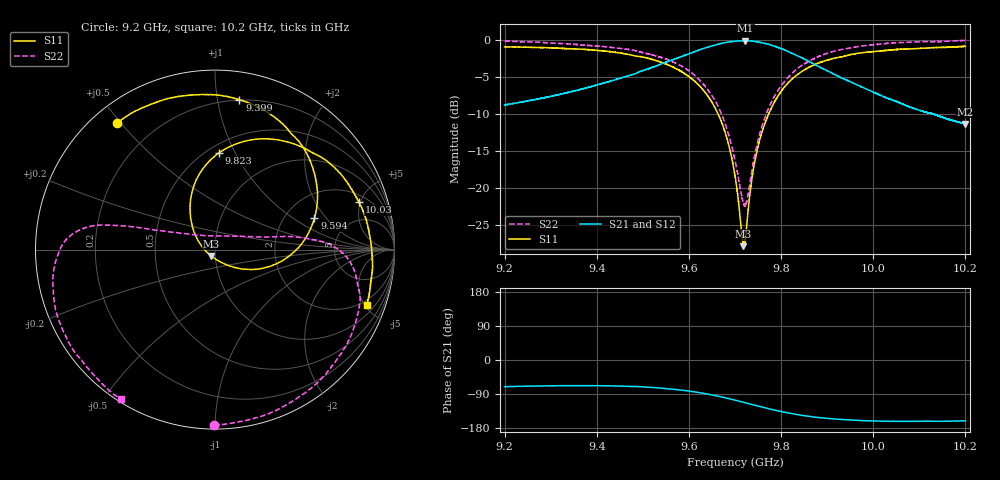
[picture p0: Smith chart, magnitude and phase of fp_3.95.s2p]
!Agilent Technologies,N5242A,MY51221714,A.09.90.19
!Agilent N5242A: A.09.90.19
!Date: Saturday, December 30, 2023 10:55:07
!Correction: S11(Full 2 Port(1,2))
!S21(Full 2 Port(1,2))
!S12(Full 2 Port(1,2))
!S22(Full 2 Port(1,2))
!S2P File: Measurements: S11, S21, S12, S22:
# Hz S  dB  R 50
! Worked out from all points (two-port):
!   16001 points, 9.2 GHz to 10.2 GHz, reference 50 ohm
!   highest |S21| = -0.16 dB at 9.722 GHz (marker M1); lowest = -11.4 dB at 10.2 GHz (marker M2)
!   |S21| within 3 dB of the highest: 9.545607 GHz to 9.545715 GHz (108.4 kHz wide, 0.00114 % of centre); 9.546 GHz to 9.867 GHz (321 MHz wide, 3.31 % of centre)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
!   lowest |S11| = -27.9 dB at 9.718 GHz (marker M3), VSWR 1.08, Z = 47.9 - j3.34 ohm
!   |S11| at or under -10 dB: 9.663 GHz to 9.773 GHz (110.3 MHz wide, 1.14 % of centre)
!   |S22| runs from -22.5 to -0.1 dB; largest |S21 - S12| = 0.017
!   S11 on the Smith chart (normalised r, x): 9.2 GHz: 0.07, +0.49; 9.399 GHz: 0.20, +1.16; 9.594 GHz: 2.88, +1.52; 9.823 GHz: 0.57, +0.86; 10.03 GHz: 2.62, +4.83; 10.2 GHz: 1.62, -5.20
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9.2e9  -1.00 127.8  -8.82 -70.4  -8.80 -71.2  -0.20 -90.2
9.277875e9  -1.09 110.3  -7.96 -68.5  -7.93 -69.2  -0.38 -68.5
9.366688e9  -1.31 89.1  -6.69 -67.6  -6.67 -68.4  -0.72 -44.7
9.399125e9  -1.46 80.7  -6.16 -67.7  -6.13 -68.6  -0.86 -36.2
9.469562e9  -2.02 61.0  -4.86 -69.7  -4.85 -70.4  -1.34 -19.4
9.533375e9  -2.93 40.7  -3.46 -73.5  -3.44 -74.2  -2.29 -6.6
9.5935e9  -4.72 17.5  -2.07 -81.0  -2.05 -81.7  -3.93 2.9
9.660812e9  -9.68 -16.2  -0.67 -94.8  -0.66 -95.5  -8.68 11.5
9.68325e9  -13.52 -31.4  -0.36 -101.0  -0.33 -101.7  -12.24 16.9
9.7e9  -18.31 -48.2  -0.22 -105.9  -0.19 -106.7  -16.23 29.1
9.718312e9  -27.86 -120.6  -0.16 -111.5  -0.13 -112.4  -22.16 74.8
9.72225e9  -26.96 -156.1  -0.16 -112.8  -0.13 -113.6  -22.33 94.3
9.7385e9  -18.07 146.3  -0.22 -117.9  -0.20 -118.8  -17.04 144.1
9.756875e9  -12.82 126.7  -0.42 -123.6  -0.39 -124.5  -12.05 157.4
9.7845e9  -8.55 108.4  -0.87 -131.7  -0.87 -132.6  -7.76 163.3
9.822812e9  -5.37 87.7  -1.83 -141.4  -1.81 -142.2  -4.61 166.7
9.866688e9  -3.55 68.2  -3.15 -149.8  -3.15 -150.5  -2.72 170.4
9.9545e9  -1.99 38.1  -5.81 -158.6  -5.81 -159.4  -1.08 -177.0
1.002675e10  -1.48 18.3  -7.80 -161.5  -7.79 -162.3  -0.54 -162.8
1.003338e10  -1.43 16.5  -7.97 -161.6  -7.95 -162.4  -0.51 -161.4
1.011119e10  -1.17 -1.3  -9.75 -161.4  -9.73 -162.2  -0.27 -144.0
1.02e10  -0.92 -19.9  -11.39 -160.6  -11.37 -161.5  -0.13 -122.2
